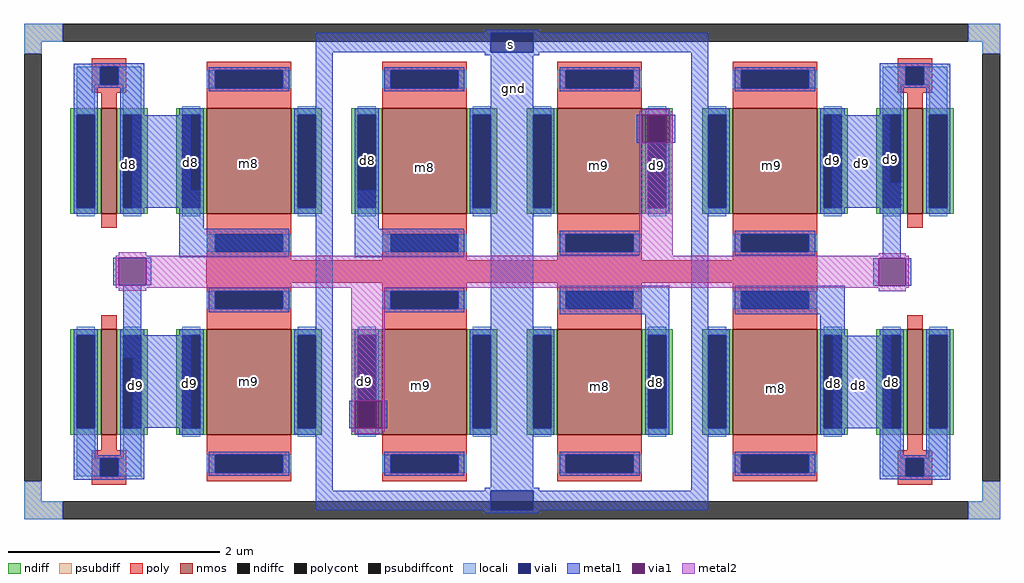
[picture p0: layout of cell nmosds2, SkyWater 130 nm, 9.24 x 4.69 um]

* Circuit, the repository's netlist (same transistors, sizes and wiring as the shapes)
* NGSPICE file created from nmosds2.ext - technology: sky130A

.subckt sky130_fd_pr__nfet_01v8_C77M8X a_n304_109# a_n578_21# a_n418_109# a_246_109#
+ a_28_109# a_578_n309# a_360_109# a_n636_109# a_86_21# a_578_109# a_418_21# a_n246_21#
+ a_n86_n309# a_86_n397# a_n246_n397# a_360_n309# a_n86_109# a_n304_n309# a_n418_n309#
+ a_418_n397# a_28_n309# a_n578_n397# a_246_n309# a_n636_n309# VSUBS
X0 a_246_109# a_86_21# a_28_109# VSUBS sky130_fd_pr__nfet_01v8 ad=0.29 pd=2.58 as=0.29 ps=2.58 w=1 l=0.8
X1 a_578_n309# a_418_n397# a_360_n309# VSUBS sky130_fd_pr__nfet_01v8 ad=0.29 pd=2.58 as=0.29 ps=2.58 w=1 l=0.8
X2 a_246_n309# a_86_n397# a_28_n309# VSUBS sky130_fd_pr__nfet_01v8 ad=0.29 pd=2.58 as=0.29 ps=2.58 w=1 l=0.8
X3 a_n418_n309# a_n578_n397# a_n636_n309# VSUBS sky130_fd_pr__nfet_01v8 ad=0.29 pd=2.58 as=0.29 ps=2.58 w=1 l=0.8
X4 a_n86_n309# a_n246_n397# a_n304_n309# VSUBS sky130_fd_pr__nfet_01v8 ad=0.29 pd=2.58 as=0.29 ps=2.58 w=1 l=0.8
X5 a_578_109# a_418_21# a_360_109# VSUBS sky130_fd_pr__nfet_01v8 ad=0.29 pd=2.58 as=0.29 ps=2.58 w=1 l=0.8
X6 a_n418_109# a_n578_21# a_n636_109# VSUBS sky130_fd_pr__nfet_01v8 ad=0.29 pd=2.58 as=0.29 ps=2.58 w=1 l=0.8
X7 a_n86_109# a_n246_21# a_n304_109# VSUBS sky130_fd_pr__nfet_01v8 ad=0.29 pd=2.58 as=0.29 ps=2.58 w=1 l=0.8
.ends

.subckt sky130_fd_pr__nfet_01v8_6H9P4D a_n73_n100# a_15_n100# a_n15_n126# VSUBS
X0 a_15_n100# a_n15_n126# a_n73_n100# VSUBS sky130_fd_pr__nfet_01v8 ad=0.29 pd=2.58 as=0.29 ps=2.58 w=1 l=0.15
.ends

.subckt nmosds2 gnd d9 d8
Xsky130_fd_pr__nfet_01v8_C77M8X_0 d8 d8 gnd d9 gnd d8 gnd d8 d8 d9 d8 d8 gnd d8 d8
+ gnd gnd d9 gnd d8 gnd d8 d8 d9 gnd sky130_fd_pr__nfet_01v8_C77M8X
Xsky130_fd_pr__nfet_01v8_6H9P4D_0 d8 d8 d8 gnd sky130_fd_pr__nfet_01v8_6H9P4D
Xsky130_fd_pr__nfet_01v8_6H9P4D_1 d9 d9 d9 gnd sky130_fd_pr__nfet_01v8_6H9P4D
Xsky130_fd_pr__nfet_01v8_6H9P4D_2 d8 d8 d8 gnd sky130_fd_pr__nfet_01v8_6H9P4D
Xsky130_fd_pr__nfet_01v8_6H9P4D_3 d9 d9 d9 gnd sky130_fd_pr__nfet_01v8_6H9P4D
.ends

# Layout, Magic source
magic
tech sky130A
magscale 1 2
<< psubdiff >>
rect -288 832 -215 866
rect 1500 832 1560 866
rect -288 809 -254 832
rect 1526 809 1560 832
rect -288 -38 -254 0
rect 1526 -38 1560 0
rect -288 -72 -215 -38
rect 1500 -72 1560 -38
<< psubdiffcont >>
rect -215 832 1500 866
rect -288 0 -254 809
rect 1526 0 1560 809
rect -215 -72 1500 -38
<< poly >>
rect -160 785 -94 801
rect -160 751 -144 785
rect -110 751 -94 785
rect -160 735 -94 751
rect 1366 785 1432 801
rect 1366 751 1382 785
rect 1416 751 1432 785
rect 1366 735 1432 751
rect -142 706 -112 735
rect 1384 706 1414 735
rect 57 376 1214 418
rect -142 59 -112 88
rect 1384 59 1414 89
rect -160 43 -94 59
rect -160 9 -144 43
rect -110 9 -94 43
rect -160 -7 -94 9
rect 1366 43 1432 59
rect 1366 9 1382 43
rect 1416 9 1432 43
rect 1366 -7 1432 9
<< polycont >>
rect -144 751 -110 785
rect 1382 751 1416 785
rect -144 9 -110 43
rect 1382 9 1416 43
<< locali >>
rect -288 832 -215 866
rect 1500 832 1560 866
rect -288 809 -254 832
rect 1526 809 1560 832
rect -188 751 -144 785
rect -110 751 -66 785
rect -188 706 -154 751
rect -101 706 -66 751
rect 1338 751 1382 785
rect 1416 751 1460 785
rect 1338 706 1373 751
rect 1426 706 1460 751
rect -188 43 -153 88
rect -100 43 -66 88
rect -188 9 -144 43
rect -110 9 -66 43
rect 1338 43 1372 99
rect 1425 43 1460 99
rect 1338 9 1382 43
rect 1416 9 1460 43
rect -288 -38 -254 0
rect 1526 -38 1560 0
rect -288 -72 -215 -38
rect 1500 -72 1560 -38
<< viali >>
rect 596 832 676 849
rect 596 812 676 832
rect -144 751 -110 785
rect 1382 751 1416 785
rect -144 9 -110 43
rect 1382 9 1416 43
rect 596 -38 676 -18
rect 596 -55 676 -38
<< metal1 >>
rect 584 849 688 855
rect 264 812 596 849
rect 676 812 1008 849
rect -156 790 -60 791
rect -194 785 -60 790
rect -194 751 -144 785
rect -110 751 -60 785
rect -194 745 -60 751
rect -194 706 -148 745
rect -106 706 -60 745
rect -83 551 28 693
rect -83 518 52 551
rect 6 478 52 518
rect 6 424 213 478
rect -119 371 -109 423
rect -57 371 -47 423
rect -100 276 -66 371
rect -100 234 29 276
rect -82 101 29 234
rect -194 49 -148 88
rect -106 49 -60 88
rect -194 43 -60 49
rect -194 9 -144 43
rect -110 9 -60 43
rect -194 4 -60 9
rect -194 3 -98 4
rect 264 -18 297 812
rect 584 806 688 812
rect 338 478 384 551
rect 338 424 545 478
rect 328 100 338 152
rect 390 100 400 152
rect 596 -12 676 806
rect 872 641 882 694
rect 935 641 945 694
rect 726 316 934 370
rect 888 288 934 316
rect 584 -18 688 -12
rect 975 -18 1008 812
rect 1332 790 1428 791
rect 1332 785 1466 790
rect 1332 751 1382 785
rect 1416 751 1466 785
rect 1332 745 1466 751
rect 1332 706 1378 745
rect 1420 706 1466 745
rect 1241 565 1352 693
rect 1241 518 1372 565
rect 1338 422 1372 518
rect 1320 370 1330 422
rect 1382 370 1392 422
rect 1059 316 1266 370
rect 1220 288 1266 316
rect 1243 100 1354 275
rect 1332 49 1378 95
rect 1420 49 1466 95
rect 1332 43 1466 49
rect 1332 9 1382 43
rect 1416 9 1466 43
rect 1332 4 1466 9
rect 1370 3 1466 4
rect 264 -55 596 -18
rect 676 -55 1008 -18
rect 584 -61 688 -55
<< via1 >>
rect -109 371 -57 423
rect 338 100 390 152
rect 882 641 935 694
rect 1330 370 1382 422
<< metal2 >>
rect 882 700 935 704
rect 877 694 940 700
rect 877 641 882 694
rect 935 641 940 694
rect -109 427 -57 433
rect 877 427 940 641
rect 1330 427 1382 432
rect -114 423 1387 427
rect -114 371 -109 423
rect -57 422 1387 423
rect -57 371 1330 422
rect -114 370 1330 371
rect 1382 370 1387 422
rect -114 366 1387 370
rect -109 361 -57 366
rect 332 152 395 366
rect 1330 360 1382 366
rect 332 100 338 152
rect 390 100 395 152
rect 332 94 395 100
rect 338 90 390 94
use sky130_fd_pr__nfet_01v8_6H9P4D  sky130_fd_pr__nfet_01v8_6H9P4D_0
transform 1 0 -127 0 1 606
box -73 -126 73 126
use sky130_fd_pr__nfet_01v8_6H9P4D  sky130_fd_pr__nfet_01v8_6H9P4D_1
transform 1 0 1399 0 1 606
box -73 -126 73 126
use sky130_fd_pr__nfet_01v8_6H9P4D  sky130_fd_pr__nfet_01v8_6H9P4D_2
transform 1 0 1399 0 1 188
box -73 -126 73 126
use sky130_fd_pr__nfet_01v8_6H9P4D  sky130_fd_pr__nfet_01v8_6H9P4D_3
transform 1 0 -127 0 1 188
box -73 -126 73 126
use sky130_fd_pr__nfet_01v8_C77M8X  sky130_fd_pr__nfet_01v8_C77M8X_0
transform 1 0 636 0 1 397
box -636 -397 636 397
<< labels >>
flabel space 137 601 137 601 0 FreeSans 320 0 0 0 m8
flabel space 470 594 470 594 0 FreeSans 320 0 0 0 m8
flabel space 801 179 801 179 0 FreeSans 320 0 0 0 m8
flabel space 1135 175 1135 175 0 FreeSans 320 0 0 0 m8
flabel space 1127 598 1127 598 0 FreeSans 320 0 0 0 m9
flabel space 800 597 800 597 0 FreeSans 320 0 0 0 m9
flabel space 462 182 462 182 0 FreeSans 320 0 0 0 m9
flabel space 138 189 138 189 0 FreeSans 320 0 0 0 m9
flabel viali 634 826 634 826 0 FreeSans 320 0 0 0 s
flabel space 362 607 362 607 0 FreeSans 160 0 0 0 d8
flabel space 908 187 908 187 0 FreeSans 160 0 0 0 d8
flabel metal1 1244 185 1244 185 0 FreeSans 160 0 0 0 d8
flabel metal1 28 603 28 603 0 FreeSans 160 0 0 0 d8
flabel space -91 600 -91 600 0 FreeSans 160 0 0 0 d8
flabel metal1 1354 187 1354 187 0 FreeSans 160 0 0 0 d8
flabel metal2 909 598 909 598 0 FreeSans 160 0 0 0 d9
flabel metal2 356 189 356 189 0 FreeSans 160 0 0 0 d9
flabel metal1 25 184 25 184 0 FreeSans 160 0 0 0 d9
flabel metal1 -76 181 -76 181 0 FreeSans 160 0 0 0 d9
flabel metal1 1243 607 1243 607 0 FreeSans 160 0 0 0 d9
flabel metal1 1352 609 1352 609 0 FreeSans 160 0 0 0 d9
flabel metal1 639 744 639 744 0 FreeSans 640 0 0 0 gnd
port 0 nsew
flabel metal1 1297 602 1297 602 0 FreeSans 640 0 0 0 d9
port 1 nsew
flabel metal1 1293 182 1293 182 0 FreeSans 640 0 0 0 d8
port 2 nsew
<< end >>

# cell sky130_fd_pr__nfet_01v8_6H9P4D: kit device sky130_fd_pr__nfet_01v8, w 1 l 0.150 m 1 nf 1 diffcov 100 polycov 100 guard 0 glc 1 grc 1 gtc 1 gbc 1 tbcov 100 rlcov 100 topc 0 botc 0 poverlap 0 doverlap 1 lmin 0.15 wmin 0.42 compatible {sky130_fd_pr__nfet_01v8 sky130_fd_pr__nfet_01v8_lvt sky130_fd_bs_flash__special_sonosfet_star sky130_fd_pr__nfet_g5v0d10v5 sky130_fd_pr__nfet_05v0_nvt sky130_fd_pr__nfet_03v3_nvt} full_metal 1 viasrc 100 viadrn 100 viagate 100 viagb 0 viagr 0 viagl 0 viagt 0

# cell sky130_fd_pr__nfet_01v8_C77M8X: kit device sky130_fd_pr__nfet_01v8, w 1 l 0.8 m 2 nf 4 diffcov 100 polycov 100 guard 0 glc 1 grc 1 gtc 1 gbc 1 tbcov 100 rlcov 100 topc 1 botc 1 poverlap 0 doverlap 0 lmin 0.15 wmin 0.42 compatible {sky130_fd_pr__nfet_01v8 sky130_fd_pr__nfet_01v8_lvt sky130_fd_bs_flash__special_sonosfet_star sky130_fd_pr__nfet_g5v0d10v5 sky130_fd_pr__nfet_05v0_nvt sky130_fd_pr__nfet_03v3_nvt} full_metal 1 viasrc 100 viadrn 100 viagate 100 viagb 0 viagr 0 viagl 0 viagt 0
